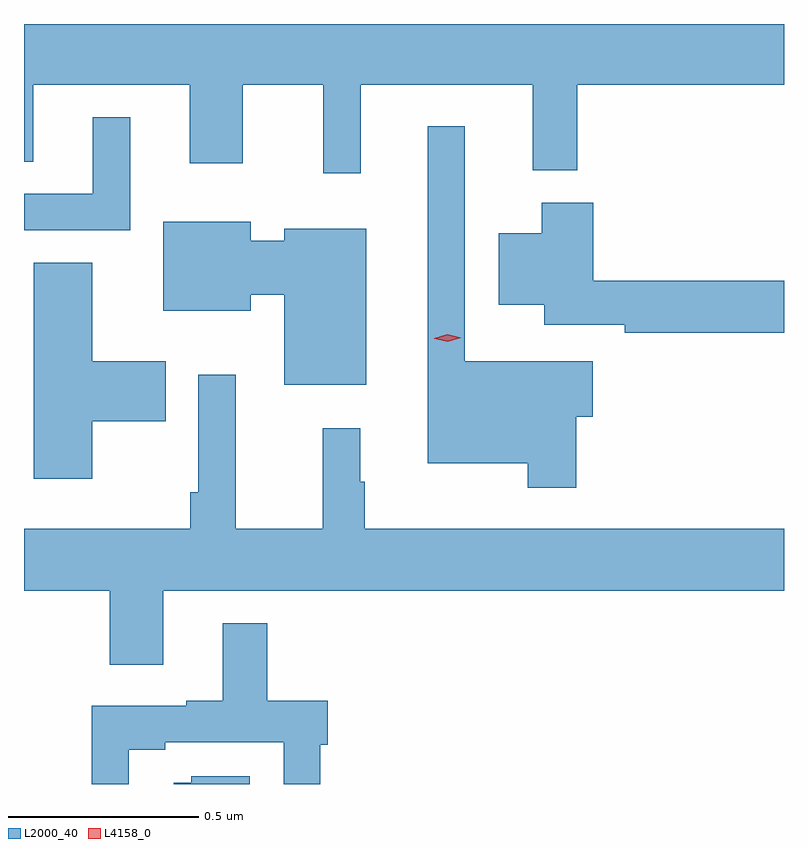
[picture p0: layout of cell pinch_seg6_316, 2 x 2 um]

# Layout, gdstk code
import gdstk
lib = gdstk.Library(unit=1e-6, precision=1e-09)
def P(c, l, *ps):  # polygons
    for p in ps: c.add(gdstk.Polygon(p, *l))
L2000_40 = (2000, 40)
L4158_0 = (4158, 0)

pinch_seg6_316 = lib.new_cell('pinch_seg6_316')
P(pinch_seg6_316, L2000_40, [(661.727,979.304),(662.18,979.304),(662.18,979.079),(662.297,979.079),(662.297,979.304),(662.841,979.304),(662.841,979.464),(660.841,979.464),(660.841,979.102),(660.865,979.102),(660.865,979.304),(661.277,979.304),(661.277,979.098),(661.417,979.098),(661.417,979.304),(661.628,979.304),(661.628,979.071),(661.727,979.071)],
  [(661.12,979.219),(661.022,979.219),(661.022,979.017),(660.841,979.017),(660.841,978.921),(661.12,978.921)],
  [(662.294,978.43),(662.338,978.43),(662.338,978.577),(662.001,978.577),(662.001,979.195),(661.904,979.195),(661.904,978.308),(662.166,978.308),(662.166,978.243),(662.294,978.243)],
  [(662.841,978.788),(662.339,978.788),(662.339,978.994),(662.204,978.994),(662.204,978.913),(662.09,978.913),(662.09,978.725),(662.21,978.725),(662.21,978.672),(662.422,978.672),(662.422,978.652),(662.841,978.652)],
  [(661.741,978.925),(661.526,978.925),(661.526,978.894),(661.438,978.894),(661.438,978.943),(661.208,978.943),(661.208,978.71),(661.438,978.71),(661.438,978.752),(661.526,978.752),(661.526,978.515),(661.741,978.515)],
  [(661.021,978.419),(661.214,978.419),(661.214,978.577),(661.021,978.577),(661.021,978.836),(660.866,978.836),(660.866,978.267),(661.021,978.267)],
  [(661.207,977.972),(662.841,977.972),(662.841,978.136),(661.738,978.136),(661.738,978.26),(661.726,978.26),(661.726,978.4),(661.627,978.4),(661.627,978.136),(661.398,978.136),(661.398,978.541),(661.299,978.541),(661.299,978.232),(661.279,978.232),(661.279,978.136),(660.841,978.136),(660.841,977.972),(661.067,977.972),(661.067,977.778),(661.207,977.778)],
  [(661.116,977.554),(661.213,977.554),(661.213,977.574),(661.524,977.574),(661.524,977.464),(661.62,977.464),(661.62,977.567),(661.64,977.567),(661.64,977.683),(661.481,977.683),(661.481,977.887),(661.364,977.887),(661.364,977.683),(661.268,977.683),(661.268,977.67),(661.019,977.67),(661.019,977.464),(661.116,977.464)],
  [(661.435,977.485),(661.281,977.485),(661.281,977.467),(661.235,977.467),(661.235,977.464),(661.435,977.464)])
P(pinch_seg6_316, L4158_0, [(661.956,978.628),(661.92,978.636),(661.92,978.636),(661.92,978.637),(661.955,978.648),(661.991,978.639),(661.991,978.639),(661.991,978.639)])

lib.write_gds('pinch_seg6_316.gds')
